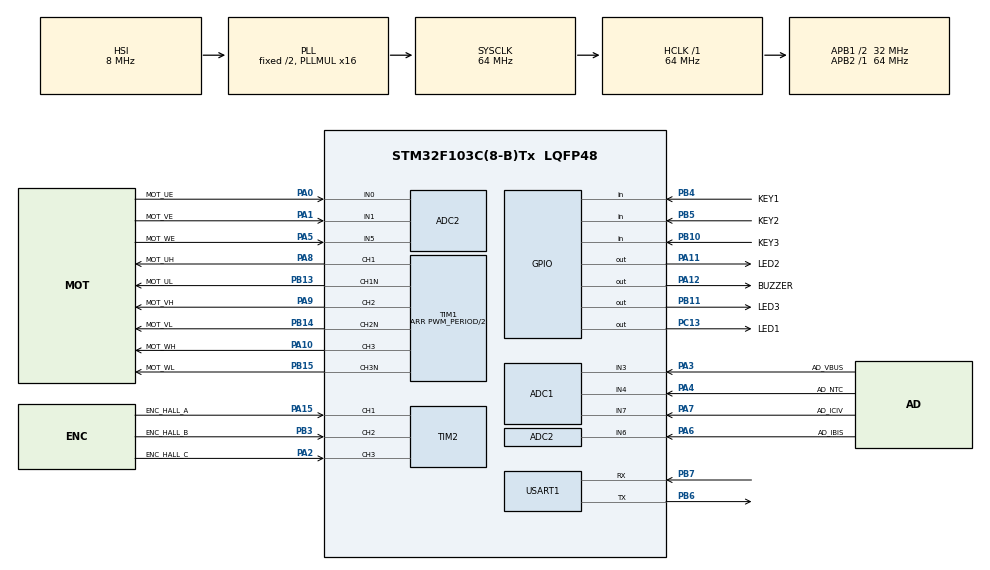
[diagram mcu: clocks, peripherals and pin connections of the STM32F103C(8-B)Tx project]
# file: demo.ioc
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ADC1.Channel-0\#ChannelRegularConversion=ADC_CHANNEL_3
ADC1.Channel-1\#ChannelRegularConversion=ADC_CHANNEL_4
ADC1.Channel-2\#ChannelRegularConversion=ADC_CHANNEL_7
ADC1.ContinuousConvMode=ENABLE
ADC1.NbrOfConversion=3
ADC1.NbrOfConversionFlag=1
ADC1.Rank-0\#ChannelRegularConversion=1
ADC1.Rank-1\#ChannelRegularConversion=2
ADC1.Rank-2\#ChannelRegularConversion=3
ADC1.SamplingTime-0\#ChannelRegularConversion=ADC_SAMPLETIME_239CYCLES_5
ADC1.SamplingTime-1\#ChannelRegularConversion=ADC_SAMPLETIME_239CYCLES_5
ADC1.SamplingTime-2\#ChannelRegularConversion=ADC_SAMPLETIME_239CYCLES_5
ADC1.master=1
ADC2.Channel-0\#ChannelRegularConversion=ADC_CHANNEL_0
ADC2.Channel-1\#ChannelRegularConversion=ADC_CHANNEL_1
ADC2.Channel-2\#ChannelRegularConversion=ADC_CHANNEL_5
ADC2.Channel-3\#ChannelInjectedConversion=ADC_CHANNEL_6
ADC2.ContinuousConvMode=ENABLE
ADC2.EnableInjectedConversion=ENABLE
ADC2.ExternalTrigConv=ADC_SOFTWARE_START
ADC2.ExternalTrigInjecConv=ADC_EXTERNALTRIGINJECCONV_T1_CC4
ADC2.InjNumberOfConversion=1
ADC2.InjectedOffset-3\#ChannelInjectedConversion=0
ADC2.InjectedRank-3\#ChannelInjectedConversion=1
ADC2.NbrOfConversion=3
ADC2.NbrOfConversionFlag=1
ADC2.Rank-0\#ChannelRegularConversion=1
ADC2.Rank-1\#ChannelRegularConversion=2
ADC2.Rank-2\#ChannelRegularConversion=3
ADC2.SamplingTime-0\#ChannelRegularConversion=ADC_SAMPLETIME_28CYCLES_5
ADC2.SamplingTime-1\#ChannelRegularConversion=ADC_SAMPLETIME_28CYCLES_5
ADC2.SamplingTime-2\#ChannelRegularConversion=ADC_SAMPLETIME_28CYCLES_5
ADC2.SamplingTime-3\#ChannelInjectedConversion=ADC_SAMPLETIME_1CYCLE_5
Dma.ADC1.2.Direction=DMA_PERIPH_TO_MEMORY
Dma.ADC1.2.Instance=DMA1_Channel1
Dma.ADC1.2.MemDataAlignment=DMA_MDATAALIGN_HALFWORD
Dma.ADC1.2.MemInc=DMA_MINC_ENABLE
Dma.ADC1.2.Mode=DMA_CIRCULAR
Dma.ADC1.2.PeriphDataAlignment=DMA_PDATAALIGN_HALFWORD
Dma.ADC1.2.PeriphInc=DMA_PINC_DISABLE
Dma.ADC1.2.Priority=DMA_PRIORITY_LOW
Dma.Request0=USART1_RX
Dma.Request1=USART1_TX
Dma.Request2=ADC1
Dma.USART1_RX.0.Direction=DMA_PERIPH_TO_MEMORY
Dma.USART1_RX.0.Instance=DMA1_Channel5
Dma.USART1_RX.0.MemDataAlignment=DMA_MDATAALIGN_BYTE
Dma.USART1_RX.0.MemInc=DMA_MINC_ENABLE
Dma.USART1_RX.0.Mode=DMA_NORMAL
Dma.USART1_RX.0.PeriphDataAlignment=DMA_PDATAALIGN_BYTE
Dma.USART1_RX.0.PeriphInc=DMA_PINC_DISABLE
Dma.USART1_RX.0.Priority=DMA_PRIORITY_LOW
Dma.USART1_TX.1.Direction=DMA_MEMORY_TO_PERIPH
Dma.USART1_TX.1.Instance=DMA1_Channel4
Dma.USART1_TX.1.MemDataAlignment=DMA_MDATAALIGN_BYTE
Dma.USART1_TX.1.MemInc=DMA_MINC_ENABLE
Dma.USART1_TX.1.Mode=DMA_NORMAL
Dma.USART1_TX.1.PeriphDataAlignment=DMA_PDATAALIGN_BYTE
Dma.USART1_TX.1.PeriphInc=DMA_PINC_DISABLE
Dma.USART1_TX.1.Priority=DMA_PRIORITY_LOW
Mcu.Family=STM32F1
Mcu.Name=STM32F103C(8-B)Tx
Mcu.Package=LQFP48
Mcu.UserConstants=TIM_HALL,htim2;UART_MODBUS,husart1;PWM_PERIOD,4000
NVIC.ADC1_2_IRQn=true\:0\:0\:false\:false\:true\:true\:true\:true
NVIC.DMA1_Channel1_IRQn=true\:0\:0\:false\:false\:true\:false\:true\:true
NVIC.DMA1_Channel4_IRQn=true\:0\:0\:false\:false\:true\:false\:true\:true
NVIC.DMA1_Channel5_IRQn=true\:0\:0\:false\:false\:true\:false\:true\:true
NVIC.PriorityGroup=NVIC_PRIORITYGROUP_4
NVIC.TIM1_CC_IRQn=true\:0\:0\:false\:false\:true\:true\:true\:true
NVIC.USART1_IRQn=true\:0\:0\:false\:false\:true\:true\:true\:true
PA0-WKUP.GPIO_Label=MOT_UE
PA0-WKUP.Signal=ADCx_IN0
PA1.GPIO_Label=MOT_VE
PA1.Signal=ADCx_IN1
PA10.GPIO_Label=MOT_WH
PA10.Signal=S_TIM1_CH3
PA11.GPIO_Label=LED2
PA11.GPIO_PuPd=GPIO_PULLUP
PA11.GPIO_Speed=GPIO_SPEED_FREQ_HIGH
PA11.Signal=GPIO_Output
PA12.GPIO_Label=BUZZER
PA12.GPIO_PuPd=GPIO_PULLUP
PA12.GPIO_Speed=GPIO_SPEED_FREQ_HIGH
PA12.Signal=GPIO_Output
PA13.Mode=Serial_Wire
PA13.Signal=SYS_JTMS-SWDIO
PA14.Mode=Serial_Wire
PA14.Signal=SYS_JTCK-SWCLK
PA15.GPIO_Label=ENC_HALL_A
PA15.GPIO_PuPd=GPIO_PULLUP
PA15.Signal=S_TIM2_CH1_ETR
PA2.GPIO_Label=ENC_HALL_C
PA2.GPIO_PuPd=GPIO_PULLUP
PA2.Signal=S_TIM2_CH3
PA3.GPIO_Label=AD_VBUS
PA3.Signal=ADCx_IN3
PA4.GPIO_Label=AD_NTC
PA4.Signal=ADCx_IN4
PA5.GPIO_Label=MOT_WE
PA5.Signal=ADCx_IN5
PA6.GPIO_Label=AD_IBIS
PA6.Signal=ADCx_IN6
PA7.GPIO_Label=AD_ICIV
PA7.Signal=ADCx_IN7
PA8.GPIO_Label=MOT_UH
PA8.Signal=S_TIM1_CH1
PA9.GPIO_Label=MOT_VH
PA9.Signal=S_TIM1_CH2
PB10.GPIO_Label=KEY3
PB10.GPIO_PuPd=GPIO_PULLUP
PB10.Signal=GPIO_Input
PB11.GPIO_Label=LED3
PB11.GPIO_PuPd=GPIO_PULLUP
PB11.GPIO_Speed=GPIO_SPEED_FREQ_HIGH
PB11.Signal=GPIO_Output
PB13.GPIO_Label=MOT_UL
PB13.Mode=PWM Generation1 CH1 CH1N
PB13.Signal=TIM1_CH1N
PB14.GPIO_Label=MOT_VL
PB14.Mode=PWM Generation2 CH2 CH2N
PB14.Signal=TIM1_CH2N
PB15.GPIO_Label=MOT_WL
PB15.Mode=PWM Generation3 CH3 CH3N
PB15.Signal=TIM1_CH3N
PB3.GPIO_Label=ENC_HALL_B
PB3.GPIO_PuPd=GPIO_PULLUP
PB3.Signal=S_TIM2_CH2
PB4.GPIO_Label=KEY1
PB4.GPIO_PuPd=GPIO_PULLUP
PB4.Signal=GPIO_Input
PB5.GPIO_Label=KEY2
PB5.GPIO_PuPd=GPIO_PULLUP
PB5.Signal=GPIO_Input
PB6.Mode=Asynchronous
PB6.Signal=USART1_TX
PB7.Mode=Asynchronous
PB7.Signal=USART1_RX
PC13-TAMPER-RTC.GPIO_Label=LED1
PC13-TAMPER-RTC.GPIO_PuPd=GPIO_PULLUP
PC13-TAMPER-RTC.GPIO_Speed=GPIO_SPEED_FREQ_HIGH
PC13-TAMPER-RTC.Signal=GPIO_Output
ProjectManager.HeapSize=0x200
ProjectManager.StackSize=0x400
ProjectManager.TargetToolchain=MDK-ARM V5
RCC.ADCPresc=RCC_ADCPCLK2_DIV6
RCC.AHBFreq_Value=64000000
RCC.APB1CLKDivider=RCC_HCLK_DIV2
RCC.APB1Freq_Value=32000000
RCC.APB1TimFreq_Value=64000000
RCC.APB2Freq_Value=64000000
RCC.APB2TimFreq_Value=64000000
RCC.HCLKFreq_Value=64000000
RCC.PLLMUL=RCC_PLL_MUL16
RCC.SYSCLKFreq_VALUE=64000000
RCC.SYSCLKSource=RCC_SYSCLKSOURCE_PLLCLK
RCC.USBFreq_Value=64000000
SH.ADCx_IN0.0=ADC2_IN0,IN0
SH.ADCx_IN1.0=ADC2_IN1,IN1
SH.ADCx_IN3.0=ADC1_IN3,IN3
SH.ADCx_IN4.0=ADC1_IN4,IN4
SH.ADCx_IN5.0=ADC2_IN5,IN5
SH.ADCx_IN6.0=ADC2_IN6,IN6
SH.ADCx_IN7.0=ADC1_IN7,IN7
SH.S_TIM1_CH1.0=TIM1_CH1,PWM Generation1 CH1 CH1N
SH.S_TIM1_CH2.0=TIM1_CH2,PWM Generation2 CH2 CH2N
SH.S_TIM1_CH3.0=TIM1_CH3,PWM Generation3 CH3 CH3N
SH.S_TIM2_CH1_ETR.0=TIM2_CH1,Xored_Inputs_Hall_Sensor_Interface
SH.S_TIM2_CH2.0=TIM2_CH2,Xored_Inputs_Hall_Sensor_Interface
SH.S_TIM2_CH3.0=TIM2_CH3,Xored_Inputs_Hall_Sensor_Interface
TIM1.AutoReloadPreload=TIM_AUTORELOAD_PRELOAD_ENABLE
TIM1.Channel-Output\ Compare4\ No\ Output=TIM_CHANNEL_4
TIM1.Channel-PWM\ Generation1\ CH1\ CH1N=TIM_CHANNEL_1
TIM1.Channel-PWM\ Generation2\ CH2\ CH2N=TIM_CHANNEL_2
TIM1.Channel-PWM\ Generation3\ CH3\ CH3N=TIM_CHANNEL_3
TIM1.CounterMode=TIM_COUNTERMODE_CENTERALIGNED1
TIM1.DeadTime=5
TIM1.OCIdleState_1=TIM_OCIDLESTATE_RESET
TIM1.OCIdleState_4=TIM_OCIDLESTATE_RESET
TIM1.OCNIdleState_1=TIM_OCNIDLESTATE_SET
TIM1.OCNIdleState_2=TIM_OCNIDLESTATE_SET
TIM1.OCNIdleState_3=TIM_OCNIDLESTATE_SET
TIM1.OCNPolarity_1=TIM_OCNPOLARITY_LOW
TIM1.OCNPolarity_2=TIM_OCNPOLARITY_LOW
TIM1.OCNPolarity_3=TIM_OCNPOLARITY_LOW
TIM1.Period=PWM_PERIOD/2
TIM1.Pulse-Output\ Compare4\ No\ Output=0
TIM1.Pulse-PWM\ Generation1\ CH1\ CH1N=PWM_PERIOD/4
TIM1.Pulse-PWM\ Generation2\ CH2\ CH2N=PWM_PERIOD/4
TIM1.Pulse-PWM\ Generation3\ CH3\ CH3N=PWM_PERIOD/4
TIM1.TIM_MasterOutputTrigger=TIM_TRGO_UPDATE
USART1.VirtualMode=VM_ASYNC
VP_TIM1_VS_no_output4.Mode=Output Compare4 No Output
board=custom

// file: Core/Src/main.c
/* USER CODE BEGIN Header */
/**
 ******************************************************************************
 * @file           : main.c
 * @brief          : Main program body
 ******************************************************************************
 * @attention
 *
 * Copyright (c) 2024 STMicroelectronics.
 * All rights reserved.
 *
 * This software is licensed under terms that can be found in the LICENSE file
 * in the root directory of this software component.
 * If no LICENSE file comes with this software, it is provided AS-IS.
 *
 ******************************************************************************
 */
/* USER CODE END Header */
#include "main.h"
#include "adc.h"
#include "dma.h"
#include "tim.h"
#include "usart.h"
#include "gpio.h"

/* USER CODE BEGIN Includes */

#include "gconf.h"

#include "system/sleep.h"
#include "pinctrl/key.h"
#include "pinctrl/led.h"

#include "modbus/mb.h"
#include "modbus/mbport.h"

#include "motdrv/enc/hall.h"
#include "motdrv/enc/abs.h"
#include "motdrv/foc/foc.h"
#include "motdrv/foc/pwmctrl.h"
#include "motdrv/filter/rc.h"

#include "oled/oled_i2c.h"

#include "sensor/ntc.h"
#include "sensor/vbus.h"
#include "sensor/pot.h"
#include "sensor/isen.h"

#include "button/button.h"

/* USER CODE END Includes */

/* USER CODE BEGIN PV */
extern void Modbus_StartReceive(void);
/* USER CODE END PV */

void SystemClock_Config(void);

/* USER CODE BEGIN 0 */

// ST HAL 霍尔模式配置 https://zhuanlan.zhihu.com/p/126478231
// 霍尔位置的对应角�? https://zhuanlan.zhihu.com/p/462932301
// 霍尔传感器信号超前于转子π/6，因此，电角�? = 霍尔角度 - π/6。正向旋转时

hall_encoder_t HallEnc = {
    .HallState = 0,
    .Direction = DIR_FWD,
    .Placement = 120,
    .ElecAngle = 0,
    .EdgeCount = 0,
    .HA_Port   = ENC_HALL_A_GPIO_Port,
    .HA_Pin    = ENC_HALL_A_Pin,
    .HB_Port   = ENC_HALL_B_GPIO_Port,
    .HB_Pin    = ENC_HALL_B_Pin,
    .HC_Port   = ENC_HALL_C_GPIO_Port,
    .HC_Pin    = ENC_HALL_C_Pin,
};

#define AD_CUR_C ADConv[0]
#define AD_CUR_A ADConv[1]
#define AD_VBUS  ADConv[3]
#define AD_NTC   ADConv[2]
#define AD_POT1  ADConv[4]
#define AD_POT2  ADConv[5]

void EncCycle()
{
    if (ParaTbl.u16EncTurnClr != 0)
    {
        ParaTbl.u16EncTurnClr = 0;
        ParaTbl.u32EncTurns   = 0;
    }
}

__IO uint16_t ADConv[6] = {0};

int ADC_Offset[6];

void Calibrate_ADC_Offset(void)
{
    DelayBlockMS(200);  // wait for sample
    ADC_Offset[0] = AD_CUR_A;
    ADC_Offset[1] = AD_CUR_C;

    if ((ADC_Offset[0] < 1800) || (ADC_Offset[0] > 2200))
    {
        // Error_State.bits.ADC_error = 1;
    }
    if ((ADC_Offset[1] < 1800) || (ADC_Offset[1] > 2200))
    {
        // Error_State.bits.ADC_error = 1;
    }
}

int lpf(int old, int new, float a)
{
    return old * a + new * (1.f - a);
}

rc_filter_t hpf_cura = {.coeff = 2 * 3.1415926 * 80 / 2000};
rc_filter_t hpf_curb = {.coeff = 2 * 3.1415926 * 80 / 2000};
rc_filter_t hpf_curc = {.coeff = 2 * 3.1415926 * 80 / 2000};
rc_filter_t lpf_cura = {.coeff = 2 * 3.1415926 * 200 / 2000};
rc_filter_t lpf_curb = {.coeff = 2 * 3.1415926 * 200 / 2000};
rc_filter_t lpf_curc = {.coeff = 2 * 3.1415926 * 200 / 2000};

/* USER CODE END 0 */

int main(void)
{

  /* MCU Configuration--------------------------------------------------------*/

  /* Reset of all peripherals, Initializes the Flash interface and the Systick. */
  HAL_Init();

  /* Configure the system clock */
  SystemClock_Config();

  /* Initialize all configured peripherals */
  MX_GPIO_Init();
  MX_DMA_Init();
  MX_ADC1_Init();
  MX_TIM1_Init();
  MX_TIM2_Init();
  MX_USART1_UART_Init();
  MX_ADC2_Init();
  /* USER CODE BEGIN 2 */
    DelayInit();

    const uint8_t ucSlaveID[] = {0xAA, 0xBB, 0xCC};
    eMBInit(MB_RTU, 1, 1, 115200, MB_PAR_EVEN);
    eMBSetSlaveID(0x34, true, ucSlaveID, ARRAY_SIZE(ucSlaveID));
    eMBEnable();
    Modbus_StartReceive();

    HallEnc_Init(&HallEnc);
    // HAL_TIM_Base_Start(TIM_HALL);
    // HAL_TIM_Base_Start_IT(TIM_HALL);

    HAL_ADCEx_Calibration_Start(&hadc1);

		// oled_init();
		// oled_draw_str(0, 0, "hello world", crBLACK, crWHITE);
		// oled_update();

    ParaTbl_Init();

    //-----------------------------------------------------------------

    ParaTbl.u16ElecAngSrc = ELEC_ANG_SRC_HALL;  // closeloop
    // ParaTbl.u16ElecAngSrc = ELEC_ANG_SRC_NONE;  // openloop

    ParaTbl.u16PwmDutyMax = PWM_PERIOD / 2;
    ParaTbl.u16DutyPha = ParaTbl.u16DutyPhb = ParaTbl.u16DutyPhc = ParaTbl.u16PwmDutyMax / 2;

    ParaTbl.u16MotPolePairs = 2;
    ParaTbl.u16Umdc         = (int)11.2;
    ParaTbl.u16CarryFreq    = 64e6 / PWM_PERIOD;  // center align mode

    if (ParaTbl.u16ElecAngSrc == ELEC_ANG_SRC_NONE)  // zero inject
    {
        ParaTbl.s16VqRef       = 16000;
        ParaTbl.s16VdRef       = 0;
        ParaTbl.u16ElecAngInc  = 24;
        ParaTbl.u16WaitTimeInc = 8;
    }
    else  // svpwm7
    {

			ParaTbl.u16ElecOffset =  HALL_ANGLE_30*1.5; 	// 为 0 正好对上， 这里超前45
        ParaTbl.s16VqRef      = 0;
        ParaTbl.s16VdRef      = 0;
        ParaTbl.s16SpdKp      = 3;
        ParaTbl.s16SpdKi      = 8;
        ParaTbl.s16SpdDigRef  = 500;
    }

    ParaTbl.u16RunState = 0;

    // Hall Enc
    ParaTbl.u32EncRes = 6 * ParaTbl.u16MotPolePairs;

    // Abs Enc
    // ParaTbl.u32EncRes = 1 << 14;  // 14-bit
    // ParaTbl.s64EncPosInit = 0;

    __HAL_TIM_SetCompare(&htim1, TIM_CHANNEL_4, ParaTbl.u16PwmDutyMax >> 1);
    HAL_TIM_OC_Start_IT(&htim1, TIM_CHANNEL_4);

    Calibrate_ADC_Offset();

    //-----------------------------------------------------------------

  /* USER CODE END 2 */

  /* Infinite loop */
  /* USER CODE BEGIN WHILE */
    while (1)
    {
        eMBPoll();

			if(ParaTbl.u16RunState == 2){
					//HAL_NVIC_SystemReset();
			  	NVIC_SystemReset();
				ParaTbl.u16RunState =0 ;
			}

        PeriodCall(1 * UNIT_S, { LED1_TGL(); });
        PeriodCall(10 * UNIT_S / (abs(ParaTbl.s16SpdFb) + 1), { LED2_TGL(); });

#if 0
        PeriodCall(20 * UNIT_MS, { button_scan(); });
#endif

        //---------------

        static u16 u16RunStatePre = 0;

        if (u16RunStatePre != ParaTbl.u16RunState)
        {
            u16RunStatePre = ParaTbl.u16RunState;
            ParaTbl.u16RunState ? PWM_Start() : PWM_Stop();
        }

        //-------------------------------------------------

#if CONFIG_ENCODER_TYPE == ENC_HALL
        ParaTbl.u16HallAngFb = HallEnc.ElecAngle;
#endif

        PeriodCall(100 * UNIT_MS, {  // speed calc
#if CONFIG_ENCODER_TYPE == ENC_HALL
            ParaTbl.s16SpdFb  = 10 * HallEnc.Direction * 60.f * HallEnc.EdgeCount / ParaTbl.u16MotPolePairs / 6;
            HallEnc.EdgeCount = 0;

            // ParaTbl.s32EncPos += HallEnc.EdgeCount;
            // ParaTbl.u32EncTurns += ParaTbl.u32EncRes / ParaTbl.u32EncRes;
            // ParaTbl.s32EncPos %= ParaTbl.u32EncRes;
#endif
        });

        PeriodCall(1 * UNIT_MS, {
            ParaTbl.u16Temp = NTC_GetTemp(AD_NTC);
            ParaTbl.u16Umdc = VBUS_GetVoltage(AD_VBUS);
            ParaTbl.s16Ai1U = POT1_GetVoltage(AD_POT1) + ParaTbl.s16Ai1Bias;
            ParaTbl.s16Ai2U = POT2_GetVoltage(AD_POT2) + ParaTbl.s16Ai2Bias;
        });

        //-------------------------------------------------

#if CONFIG_ENCODER_TYPE == ENC_ABS
        PeriodCall(50 * UNIT_MS, { tformat_send_read_request(); });
#endif

        PeriodCall(500 * UNIT_US, {
            // ParaTbl.s16CurPhAFb = rc_hpf(&hpf_cura, ISEN_GetPhaseCurrent((int16_t)AD_CUR_A));
            // ParaTbl.s16CurPhCFb = rc_hpf(&hpf_curc, ISEN_GetPhaseCurrent((int16_t)AD_CUR_C));
            // ParaTbl.s16CurPhBFb = rc_hpf(&hpf_curb, ISEN_GetPhaseCurrent((int16_t)0 - (int16_t)AD_CUR_A - (int16_t)AD_CUR_C));

            ParaTbl.s16CurPhAFb = (int32_t)ISEN_GetPhaseCurrent((int16_t)AD_CUR_A - ADC_Offset[0]) * 65535 / ParaTbl.u16Umdc;
            ParaTbl.s16CurPhCFb = (int32_t)ISEN_GetPhaseCurrent((int16_t)AD_CUR_C - ADC_Offset[1]) * 65535 / ParaTbl.u16Umdc;
            ParaTbl.s16CurPhBFb = 0 - ParaTbl.s16CurPhAFb - ParaTbl.s16CurPhCFb;

            ParaTbl.s16CurPhAFb = rc_lpf(&lpf_cura, ParaTbl.s16CurPhAFb);
            ParaTbl.s16CurPhBFb = rc_lpf(&lpf_curb, ParaTbl.s16CurPhBFb);
            ParaTbl.s16CurPhCFb = rc_lpf(&lpf_curc, ParaTbl.s16CurPhCFb);
        });

        ifoc();

        extern hall_encoder_t HallEnc;
        HallEnc_Update(&HallEnc);

        if (ParaTbl.u16RunState)
        {
            if (ParaTbl.u16ElecAngSrc == ELEC_ANG_SRC_NONE)
            {
                ParaTbl.u16ElecAngRef += ParaTbl.u16ElecAngInc;
            }
            else if (ParaTbl.u16ElecAngSrc == ELEC_ANG_SRC_HALL)
            {
                ParaTbl.u16ElecAngRef = ((u32)ParaTbl.u16HallAngFb + (u32)ParaTbl.u16ElecOffset) % UINT16_MAX;
            }

            spdloop();
            // curloop();
            ofoc();

            PWM_SetDuty(ParaTbl.u16DutyPha, ParaTbl.u16DutyPhb, ParaTbl.u16DutyPhc);

            if (ParaTbl.u16ElecAngSrc == ELEC_ANG_SRC_NONE)
            {
                DelayBlockUS(ParaTbl.u16WaitTimeInc);
            }
        }

    /* USER CODE END WHILE */

    }
}

void SystemClock_Config(void)
{
  RCC_OscInitTypeDef RCC_OscInitStruct = {0};
  RCC_ClkInitTypeDef RCC_ClkInitStruct = {0};
  RCC_PeriphCLKInitTypeDef PeriphClkInit = {0};

  /** Initializes the RCC Oscillators according to the specified parameters
  * in the RCC_OscInitTypeDef structure.
  */
  RCC_OscInitStruct.OscillatorType = RCC_OSCILLATORTYPE_HSI;
  RCC_OscInitStruct.HSIState = RCC_HSI_ON;
  RCC_OscInitStruct.HSICalibrationValue = RCC_HSICALIBRATION_DEFAULT;
  RCC_OscInitStruct.PLL.PLLState = RCC_PLL_ON;
  RCC_OscInitStruct.PLL.PLLSource = RCC_PLLSOURCE_HSI_DIV2;
  RCC_OscInitStruct.PLL.PLLMUL = RCC_PLL_MUL16;
  if (HAL_RCC_OscConfig(&RCC_OscInitStruct) != HAL_OK)
  {
    Error_Handler();
  }

  /** Initializes the CPU, AHB and APB buses clocks
  */
  RCC_ClkInitStruct.ClockType = RCC_CLOCKTYPE_HCLK|RCC_CLOCKTYPE_SYSCLK
                              |RCC_CLOCKTYPE_PCLK1|RCC_CLOCKTYPE_PCLK2;
  RCC_ClkInitStruct.SYSCLKSource = RCC_SYSCLKSOURCE_PLLCLK;
  RCC_ClkInitStruct.AHBCLKDivider = RCC_SYSCLK_DIV1;
  RCC_ClkInitStruct.APB1CLKDivider = RCC_HCLK_DIV2;
  RCC_ClkInitStruct.APB2CLKDivider = RCC_HCLK_DIV1;

  if (HAL_RCC_ClockConfig(&RCC_ClkInitStruct, FLASH_LATENCY_2) != HAL_OK)
  {
    Error_Handler();
  }
  PeriphClkInit.PeriphClockSelection = RCC_PERIPHCLK_ADC;
  PeriphClkInit.AdcClockSelection = RCC_ADCPCLK2_DIV6;
  if (HAL_RCCEx_PeriphCLKConfig(&PeriphClkInit) != HAL_OK)
  {
    Error_Handler();
  }
}

/* USER CODE BEGIN 4 */
void HAL_UART_RxCpltCallback(UART_HandleTypeDef* huart)
{
#if CONFIG_ENCODER_TYPE == ENC_ABS
    if (huart == &UART_TFORMAT)
    {
        ParaTbl.s32EncPos = tformat_process_response();
        // tformat_send_clear_position();
    }
#endif
}
/* USER CODE END 4 */

void Error_Handler(void)
{
    __disable_irq();
    while (1)
    {
    }
}
